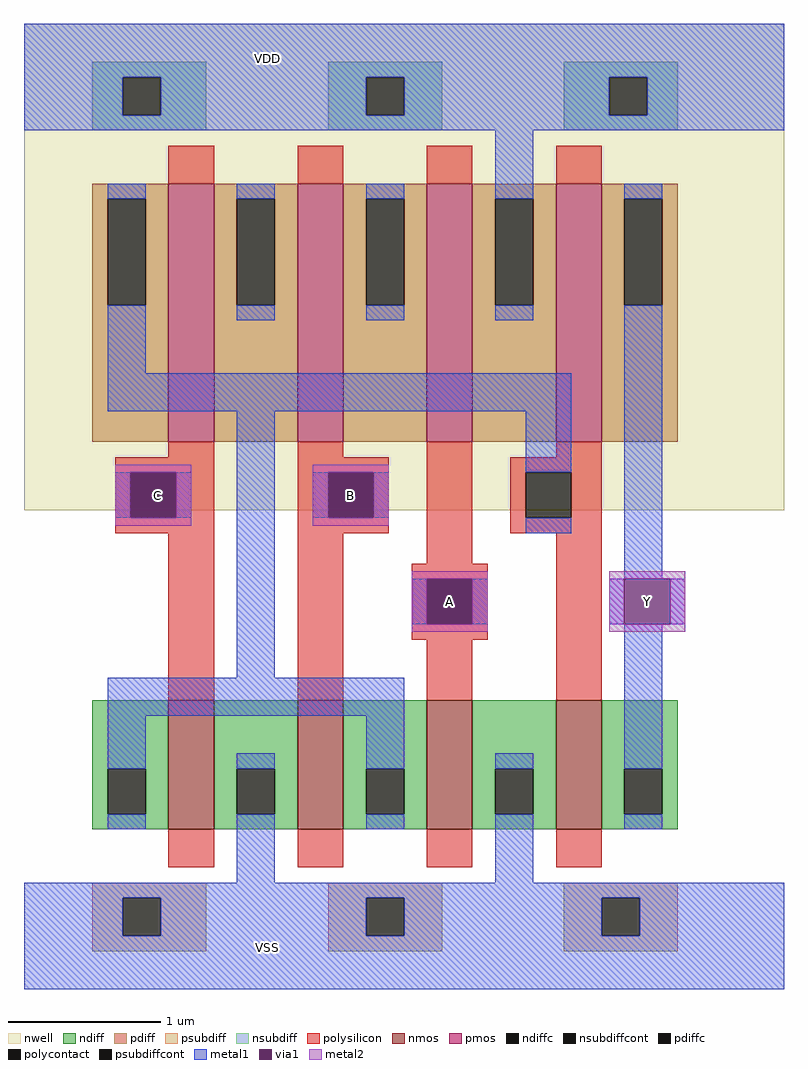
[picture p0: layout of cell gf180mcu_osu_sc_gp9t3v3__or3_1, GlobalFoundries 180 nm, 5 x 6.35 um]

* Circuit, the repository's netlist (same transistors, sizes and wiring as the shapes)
** sch_path: /home/usrvnc/gits/chipathon25-SILICON_BBI-sroutk/designs/libs/core_digital/gf180mcu_osu_sc_gp9t3v3/cells/or3/gf180mcu_osu_sc_gp9t3v3__or3_1.sch
.subckt gf180mcu_osu_sc_gp9t3v3__or3_1 A B C VDD Y VSS
*.PININFO A:I B:I C:I VDD:B Y:O VSS:B
XM4 net2 A VDD VDD pfet_03v3 L=0.3u W=1.7u nf=1 ad='int((nf+1)/2) * W/nf * 0.18u' as='int((nf+2)/2) * W/nf * 0.18u' pd='2*int((nf+1)/2) * (W/nf + 0.18u)'
+ ps='2*int((nf+2)/2) * (W/nf + 0.18u)' nrd='0.18u / W' nrs='0.18u / W' sa=0 sb=0 sd=0 m=1
XM3 net3 A VSS VSS nfet_03v3 L=0.3u W=0.85u nf=1 ad='int((nf+1)/2) * W/nf * 0.18u' as='int((nf+2)/2) * W/nf * 0.18u' pd='2*int((nf+1)/2) * (W/nf + 0.18u)'
+ ps='2*int((nf+2)/2) * (W/nf + 0.18u)' nrd='0.18u / W' nrs='0.18u / W' sa=0 sb=0 sd=0 m=1
XM1 net1 B net2 VDD pfet_03v3 L=0.3u W=1.7u nf=1 ad='int((nf+1)/2) * W/nf * 0.18u' as='int((nf+2)/2) * W/nf * 0.18u' pd='2*int((nf+1)/2) * (W/nf + 0.18u)'
+ ps='2*int((nf+2)/2) * (W/nf + 0.18u)' nrd='0.18u / W' nrs='0.18u / W' sa=0 sb=0 sd=0 m=1
XM2 net3 C net1 VDD pfet_03v3 L=0.3u W=1.7u nf=1 ad='int((nf+1)/2) * W/nf * 0.18u' as='int((nf+2)/2) * W/nf * 0.18u' pd='2*int((nf+1)/2) * (W/nf + 0.18u)'
+ ps='2*int((nf+2)/2) * (W/nf + 0.18u)' nrd='0.18u / W' nrs='0.18u / W' sa=0 sb=0 sd=0 m=1
XM5 net3 B VSS VSS nfet_03v3 L=0.3u W=0.85u nf=1 ad='int((nf+1)/2) * W/nf * 0.18u' as='int((nf+2)/2) * W/nf * 0.18u' pd='2*int((nf+1)/2) * (W/nf + 0.18u)'
+ ps='2*int((nf+2)/2) * (W/nf + 0.18u)' nrd='0.18u / W' nrs='0.18u / W' sa=0 sb=0 sd=0 m=1
XM6 net3 C VSS VSS nfet_03v3 L=0.3u W=0.85u nf=1 ad='int((nf+1)/2) * W/nf * 0.18u' as='int((nf+2)/2) * W/nf * 0.18u' pd='2*int((nf+1)/2) * (W/nf + 0.18u)'
+ ps='2*int((nf+2)/2) * (W/nf + 0.18u)' nrd='0.18u / W' nrs='0.18u / W' sa=0 sb=0 sd=0 m=1
XM7 Y net3 VSS VSS nfet_03v3 L=0.3u W=0.85u nf=1 ad='int((nf+1)/2) * W/nf * 0.18u' as='int((nf+2)/2) * W/nf * 0.18u' pd='2*int((nf+1)/2) * (W/nf + 0.18u)'
+ ps='2*int((nf+2)/2) * (W/nf + 0.18u)' nrd='0.18u / W' nrs='0.18u / W' sa=0 sb=0 sd=0 m=1
XM8 Y net3 VDD VDD pfet_03v3 L=0.3u W=1.7u nf=1 ad='int((nf+1)/2) * W/nf * 0.18u' as='int((nf+2)/2) * W/nf * 0.18u' pd='2*int((nf+1)/2) * (W/nf + 0.18u)'
+ ps='2*int((nf+2)/2) * (W/nf + 0.18u)' nrd='0.18u / W' nrs='0.18u / W' sa=0 sb=0 sd=0 m=1
.ends

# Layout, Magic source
magic
tech gf180mcuD
<< nwell >>
rect 105 63 205 127
<< nmos >>
rect 124 21 130 38
rect 141 21 147 38
rect 158 21 164 38
rect 175 21 181 38
<< pmos >>
rect 124 72 130 106
rect 141 72 147 106
rect 158 72 164 106
rect 175 72 181 106
<< ndiff >>
rect 114 29 124 38
rect 114 23 116 29
rect 121 23 124 29
rect 114 21 124 23
rect 130 29 141 38
rect 130 23 133 29
rect 138 23 141 29
rect 130 21 141 23
rect 147 29 158 38
rect 147 23 150 29
rect 155 23 158 29
rect 147 21 158 23
rect 164 29 175 38
rect 164 23 167 29
rect 172 23 175 29
rect 164 21 175 23
rect 181 29 191 38
rect 181 23 184 29
rect 189 23 191 29
rect 181 21 191 23
<< pdiff >>
rect 114 104 124 106
rect 114 90 116 104
rect 121 90 124 104
rect 114 72 124 90
rect 130 104 141 106
rect 130 90 133 104
rect 138 90 141 104
rect 130 72 141 90
rect 147 104 158 106
rect 147 90 150 104
rect 155 90 158 104
rect 147 72 158 90
rect 164 104 175 106
rect 164 90 167 104
rect 172 90 175 104
rect 164 72 175 90
rect 181 104 191 106
rect 181 90 184 104
rect 189 90 191 104
rect 181 72 191 90
<< ndiffc >>
rect 116 23 121 29
rect 133 23 138 29
rect 150 23 155 29
rect 167 23 172 29
rect 184 23 189 29
<< pdiffc >>
rect 116 90 121 104
rect 133 90 138 104
rect 150 90 155 104
rect 167 90 172 104
rect 184 90 189 104
<< psubdiff >>
rect 114 12 129 14
rect 114 7 118 12
rect 123 7 129 12
rect 114 5 129 7
rect 145 12 160 14
rect 145 7 150 12
rect 155 7 160 12
rect 145 5 160 7
rect 176 12 191 14
rect 176 7 181 12
rect 186 7 191 12
rect 176 5 191 7
<< nsubdiff >>
rect 114 120 129 122
rect 114 115 118 120
rect 123 115 129 120
rect 114 113 129 115
rect 145 120 160 122
rect 145 115 150 120
rect 155 115 160 120
rect 145 113 160 115
rect 176 120 191 122
rect 176 115 182 120
rect 187 115 191 120
rect 176 113 191 115
<< psubdiffcont >>
rect 118 7 123 12
rect 150 7 155 12
rect 181 7 186 12
<< nsubdiffcont >>
rect 118 115 123 120
rect 150 115 155 120
rect 182 115 187 120
<< polysilicon >>
rect 124 106 130 111
rect 141 106 147 111
rect 158 106 164 111
rect 175 106 181 111
rect 124 70 130 72
rect 117 68 130 70
rect 117 62 119 68
rect 125 62 130 68
rect 117 60 130 62
rect 124 38 130 60
rect 141 70 147 72
rect 141 68 153 70
rect 141 62 145 68
rect 151 62 153 68
rect 141 60 153 62
rect 141 38 147 60
rect 158 56 164 72
rect 175 70 181 72
rect 169 68 181 70
rect 169 62 171 68
rect 177 62 181 68
rect 169 60 181 62
rect 156 54 166 56
rect 156 48 158 54
rect 164 48 166 54
rect 156 46 166 48
rect 158 38 164 46
rect 175 38 181 60
rect 124 16 130 21
rect 141 16 147 21
rect 158 16 164 21
rect 175 16 181 21
<< polycontact >>
rect 119 62 125 68
rect 145 62 151 68
rect 171 62 177 68
rect 158 48 164 54
<< metal1 >>
rect 105 120 205 127
rect 105 115 118 120
rect 123 115 150 120
rect 155 115 182 120
rect 187 115 205 120
rect 105 113 205 115
rect 116 104 121 106
rect 116 81 121 90
rect 133 104 138 106
rect 133 88 138 90
rect 150 104 155 106
rect 150 88 155 90
rect 167 104 172 113
rect 167 88 172 90
rect 184 104 189 106
rect 116 76 177 81
rect 117 62 119 68
rect 125 62 127 68
rect 133 41 138 76
rect 171 68 177 76
rect 143 62 145 68
rect 151 62 153 68
rect 171 60 177 62
rect 184 54 189 90
rect 156 48 158 54
rect 164 48 166 54
rect 182 48 184 54
rect 190 48 192 54
rect 116 36 155 41
rect 116 29 121 36
rect 116 21 121 23
rect 133 29 138 31
rect 133 14 138 23
rect 150 29 155 36
rect 150 21 155 23
rect 167 29 172 31
rect 167 14 172 23
rect 184 29 189 48
rect 184 21 189 23
rect 105 12 205 14
rect 105 7 118 12
rect 123 7 150 12
rect 155 7 181 12
rect 186 7 205 12
rect 105 0 205 7
<< via1 >>
rect 119 62 125 68
rect 145 62 151 68
rect 158 48 164 54
rect 184 48 190 54
<< metal2 >>
rect 117 68 127 69
rect 117 62 119 68
rect 125 62 127 68
rect 117 61 127 62
rect 143 68 153 69
rect 143 62 145 68
rect 151 62 153 68
rect 143 61 153 62
rect 156 54 166 55
rect 156 48 158 54
rect 164 48 166 54
rect 156 47 166 48
rect 182 54 192 55
rect 182 48 184 54
rect 190 48 192 54
rect 182 47 192 48
<< labels >>
flabel metal2 143 61 153 69 0 FreeSans 48 0 0 0 B
port 2 nsew
flabel metal1 129 119 145 126 0 FreeSans 48 0 0 0 VDD
port 4 nsew
flabel metal1 129 2 145 9 0 FreeSans 48 0 0 0 VSS
port 6 nsew
flabel metal2 118 61 127 69 0 FreeSans 48 0 0 0 C
port 3 nsew
flabel metal2 156 47 166 55 0 FreeSans 48 0 0 0 A
port 1 nsew
flabel metal2 182 47 192 55 0 FreeSans 48 0 0 0 Y
port 5 nsew
<< properties >>
string FIXED_BBOX 105 0 205 127
<< end >>
